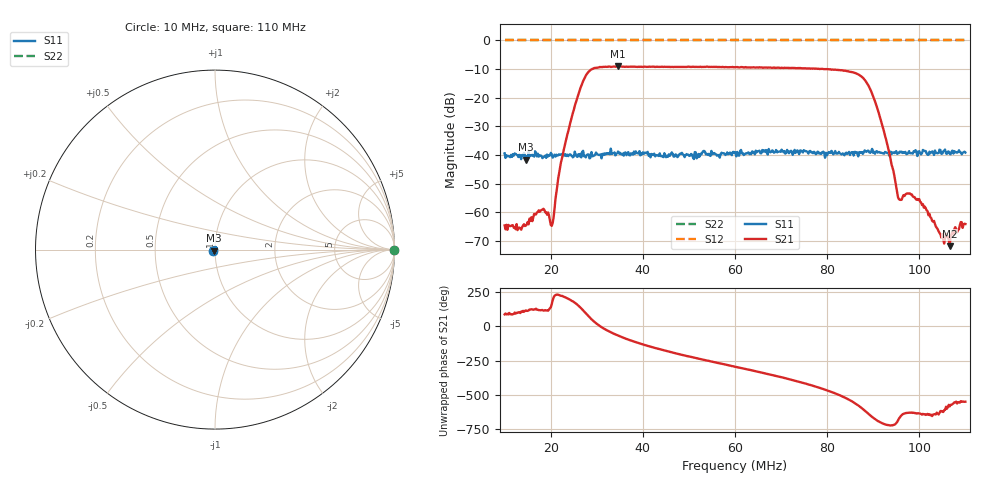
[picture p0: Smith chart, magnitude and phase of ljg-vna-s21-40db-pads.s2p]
! Anritsu VNA Master:  Model: MS2034B/10/19/501
! SN:  1337062
! /bd0/ovro-jan-2016/ljg-vna-s21-40db-pads.s2p
! Existing Calibration Information:
! TYPE:  Current Settings,  Active Cal Settings
! TIME:  01/08/2016 05:46:18 PM,  01/08/2016 05:30:02 PM
! INTERNAL TEMP:  44.3 C,  46.5 C
! # POINTS:  500,  500
! START FREQ:  10.000 MHz,  10.000 MHz
! STOP FREQ:  110.000 MHz,  110.000 MHz
! SOURCE POWER:  Low,  Low
! IFBW:  100 Hz,  100 Hz
! AVG FACTOR:  3 ,  3
! REF PLANE 1:  1.2232 m,  1.2232 m
! REF PLANE 2:  0 mm,  0 mm
! CAL TYPE:  1P2P S11,S21,  1P2P S11,S21
! CAL METHOD:  SOLT,  SOLT
! CAL LINE TYPE:  Coax,  Coax
! DUT PORT 1:  K-Conn(M),  K-Conn(M)
! DUT PORT 2:  N-Conn(M),  N-Conn(M)
! CAL STATUS:  OK: Accuracy High,  --
# GHZ S DB R 50.0
! FREQ.GHZ  S11DB  S11A  S21DB  S21A  S12DB  S12A  S22DB  S22A
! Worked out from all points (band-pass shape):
!   500 points, 10 MHz to 110 MHz, reference 50 ohm
!   highest |S21| = -9.08 dB at 34.65 MHz (marker M1); lowest = -71.8 dB at 106.6 MHz (marker M2)
!   |S21| within 3 dB of the highest: 27.69 MHz to 86.99 MHz (59.3 MHz wide, 103 % of centre)
!   lowest |S11| = -41.6 dB at 14.61 MHz (marker M3), VSWR 1.02, Z = 49.5 - j0.627 ohm
!   |S11| at or under -10 dB: start of sweep to end of sweep
!   |S22| runs from 0.0 to 0.0 dB; largest |S21 - S12| = 1.3
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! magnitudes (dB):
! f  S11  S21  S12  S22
! 10 MHz  -39.4  -64.6  0.0  0.0
! 14.61 MHz  -41.6  -64.7  0.0  0.0
! 18.22 MHz  -41.1  -59.0  0.0  0.0
! 20.42 MHz  -40.9  -63.8  0.0  0.0
! 22.42 MHz  -39.7  -41.3  0.0  0.0
! 24.83 MHz  -40.8  -25.2  0.0  0.0
! 26.83 MHz  -39.0  -15.0  0.0  0.0
! 29.04 MHz  -40.4  -9.9  0.0  0.0
! 34.65 MHz  -38.8  -9.1  0.0  0.0
! 43.47 MHz  -40.4  -9.2  0.0  0.0
! 60.1 MHz  -39.0  -9.3  0.0  0.0
! 76.73 MHz  -39.1  -9.8  0.0  0.0
! 87.96 MHz  -38.9  -13.4  0.0  0.0
! 90.36 MHz  -39.5  -21.2  0.0  0.0
! 93.37 MHz  -39.2  -38.4  0.0  0.0
! 95.17 MHz  -39.6  -53.2  0.0  0.0
! 95.77 MHz  -38.8  -55.6  0.0  0.0
! 97.58 MHz  -39.4  -53.5  0.0  0.0
! 99.98 MHz  -38.7  -55.4  0.0  0.0
! 105 MHz  -39.5  -67.6  0.0  0.0
! 106.6 MHz  -39.6  -71.8  0.0  0.0
! 110 MHz  -39.1  -64.1  0.0  0.0
